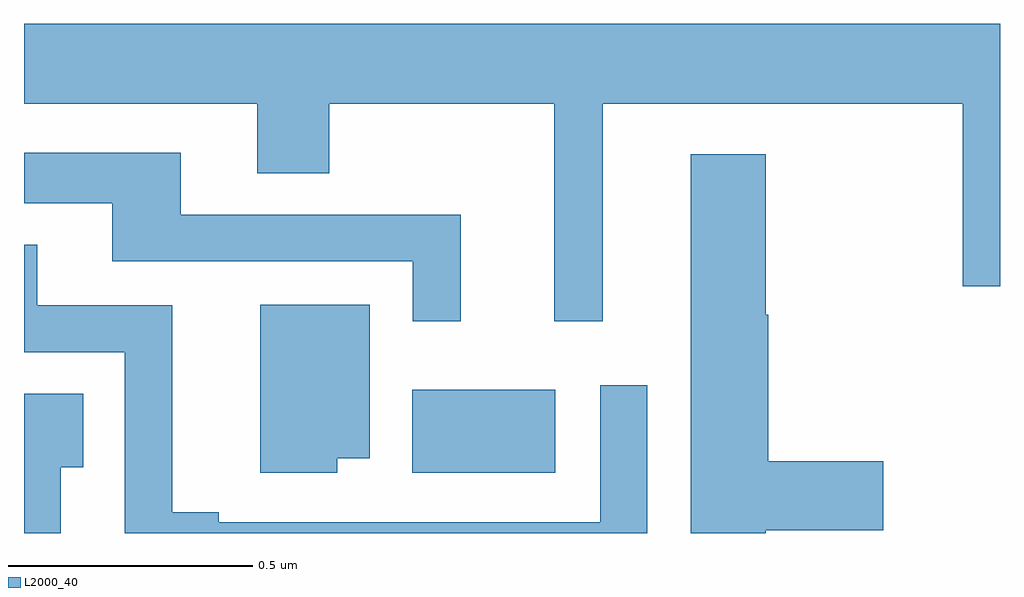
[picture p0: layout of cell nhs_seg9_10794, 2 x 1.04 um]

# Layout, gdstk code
import gdstk
lib = gdstk.Library(unit=1e-6, precision=1e-09)
def R(c, l, rs):  # rectangles x0, y0, x1, y1
    for r in rs: c.add(gdstk.rectangle(r[:2], r[2:], *l))
def P(c, l, *ps):  # polygons
    for p in ps: c.add(gdstk.Polygon(p, *l))
L2000_40 = (2000, 40)

nhs_seg9_10794 = lib.new_cell('nhs_seg9_10794')
R(nhs_seg9_10794, L2000_40, [(247.796,1235.624,248.089,1235.794)])
P(nhs_seg9_10794, L2000_40, [(248.186,1236.38),(248.924,1236.38),(248.924,1236.006),(249,1236.006),(249,1236.544),(247,1236.544),(247,1236.38),(247.478,1236.38),(247.478,1236.238),(247.626,1236.238),(247.626,1236.38),(248.087,1236.38),(248.087,1235.934),(248.186,1235.934)],
  [(247.895,1236.153),(247.321,1236.153),(247.321,1236.28),(247,1236.28),(247,1236.176),(247.181,1236.176),(247.181,1236.057),(247.797,1236.057),(247.797,1235.934),(247.895,1235.934)],
  [(248.52,1235.506),(248.761,1235.506),(248.761,1235.648),(248.525,1235.648),(248.525,1235.948),(248.52,1235.948),(248.52,1236.277),(248.366,1236.277),(248.366,1235.5),(248.52,1235.5)],
  [(248.277,1235.803),(248.181,1235.803),(248.181,1235.523),(247.399,1235.523),(247.399,1235.543),(247.304,1235.543),(247.304,1235.967),(247.027,1235.967),(247.027,1236.091),(247,1236.091),(247,1235.871),(247.206,1235.871),(247.206,1235.5),(248.277,1235.5)],
  [(247.642,1235.654),(247.708,1235.654),(247.708,1235.968),(247.484,1235.968),(247.484,1235.624),(247.642,1235.624)],
  [(247.075,1235.635),(247.121,1235.635),(247.121,1235.786),(247,1235.786),(247,1235.5),(247.075,1235.5)])

lib.write_gds('nhs_seg9_10794.gds')
